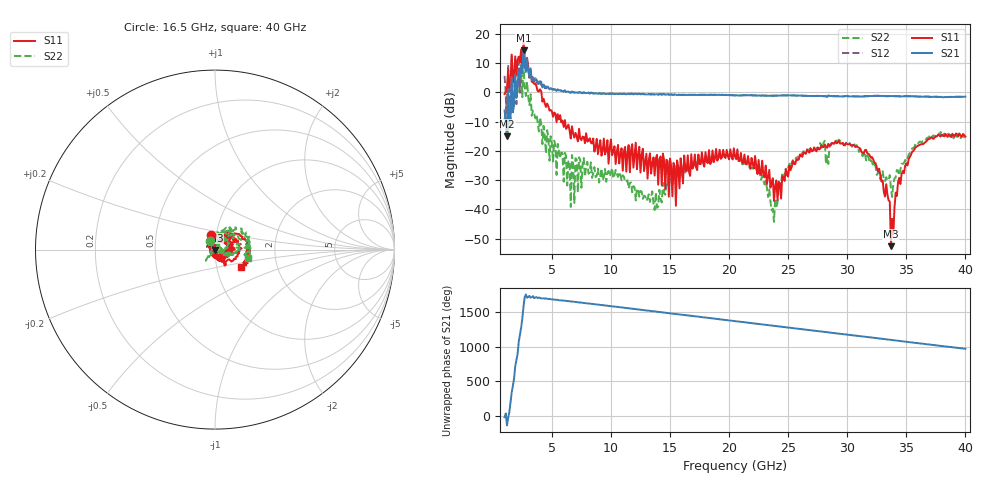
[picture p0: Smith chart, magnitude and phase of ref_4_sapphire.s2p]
!Keysight Technologies,N5224A,MY55441802,A.10.65.16
!Date: Wednesday, May 13, 2026 18:22:56
!Correction: S11(Full 2 Port(1,2))
!S21(Full 2 Port(1,2))
!S12(Full 2 Port(1,2))
!S22(Full 2 Port(1,2))
!S2P File: Measurements: S11, S21, S12, S22:
# Hz S  dB  R 50
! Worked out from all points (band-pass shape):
!   391 points, 1 GHz to 40 GHz, reference 50 ohm
!   highest |S21| = 14.39 dB at 2.6 GHz (marker M1); lowest = -15.0 dB at 1.2 GHz (marker M2)
!   |S21| within 3 dB of the highest: 2.562 GHz to 2.658 GHz (95.92 MHz wide, 3.68 % of centre); 2.898918 GHz to 2.901104 GHz (2.186 MHz wide, 0.0754 % of centre)
!   lowest |S11| = -52.6 dB at 33.7 GHz (marker M3), VSWR 1.00, Z = 50.2 - j0.132 ohm
!   |S11| at or under -10 dB: 5.394803 GHz to 5.405565 GHz (10.76 MHz wide, 0.199 % of centre); 5.79 GHz to 5.839 GHz (48.73 MHz wide, 0.838 % of centre); 6.118 GHz to end of sweep (the widest 3 of 4)
!   |S22| runs from -44.3 to 9.7 dB; largest |S21 - S12| = 2.4
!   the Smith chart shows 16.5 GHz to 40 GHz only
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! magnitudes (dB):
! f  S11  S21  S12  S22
! 1 GHz  -0.5  -6.2  5.7  -9.3
! 1.2 GHz  1.5  -15.0  -15.3  -0.8
! 1.3 GHz  7.7  -0.1  9.4  -14.9
! 1.5 GHz  3.3  -9.3  -11.4  -0.8
! 1.6 GHz  13.0  5.1  12.5  -4.4
! 1.8 GHz  6.4  -4.2  -4.7  0.5
! 1.9 GHz  12.3  6.0  11.1  -1.0
! 2 GHz  6.1  -1.8  -4.0  -1.7
! 2.6 GHz  17.8  14.4  9.6  9.7
! 4.5 GHz  -5.0  1.4  1.9  -20.9
! 6.5 GHz  -13.1  0.0  0.0  -23.4
! 6.6 GHz  -15.8  -0.1  0.0  -39.2
! 6.7 GHz  -11.6  0.2  0.3  -21.4
! 7.5 GHz  -16.3  -0.1  0.0  -32.6
! 14 GHz  -31.6  -0.8  -0.7  -39.0
! 20.5 GHz  -22.0  -1.0  -1.0  -22.5
! 23.8 GHz  -37.1  -1.1  -1.1  -44.3
! 27 GHz  -20.1  -1.2  -1.2  -19.6
! 33.5 GHz  -37.0  -1.2  -1.2  -30.1
! 33.7 GHz  -52.6  -1.2  -1.2  -33.0
! 35.5 GHz  -20.3  -1.3  -1.3  -19.1
! 40 GHz  -15.1  -1.4  -1.5  -14.5
